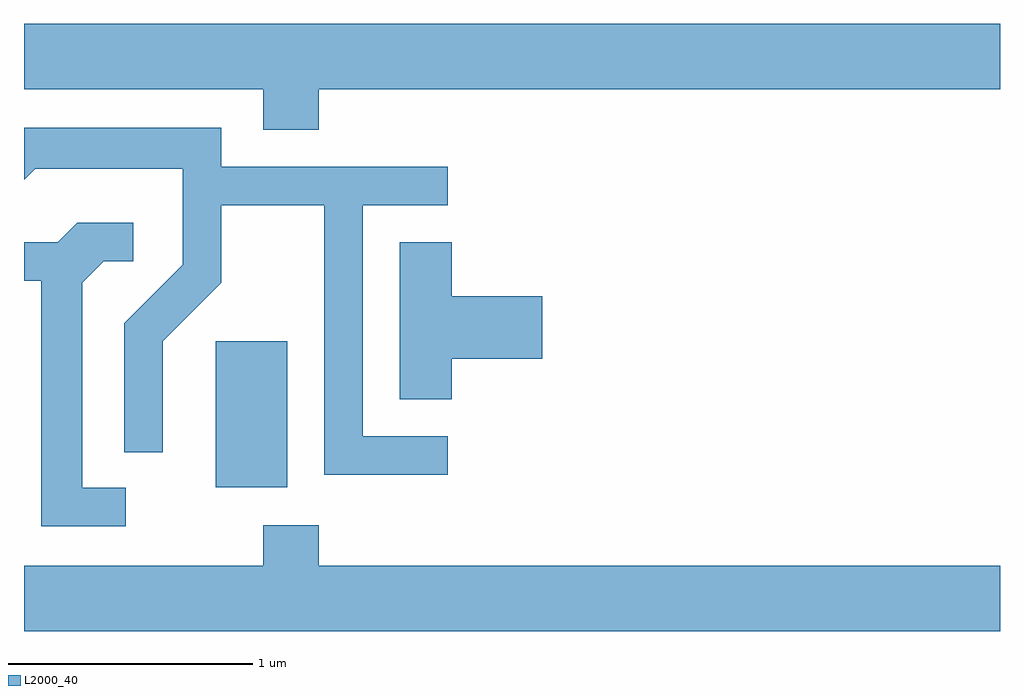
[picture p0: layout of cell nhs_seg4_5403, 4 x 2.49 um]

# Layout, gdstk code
import gdstk
lib = gdstk.Library(unit=1e-6, precision=1e-09)
def R(c, l, rs):  # rectangles x0, y0, x1, y1
    for r in rs: c.add(gdstk.rectangle(r[:2], r[2:], *l))
def P(c, l, *ps):  # polygons
    for p in ps: c.add(gdstk.Polygon(p, *l))
L2000_40 = (2000, 40)

nhs_seg4_5403 = lib.new_cell('nhs_seg4_5403')
R(nhs_seg4_5403, L2000_40, [(344.396,1317.526,344.689,1318.124)])
P(nhs_seg4_5403, L2000_40, [(344.819,1319.156),(347.611,1319.156),(347.611,1319.424),(343.611,1319.424),(343.611,1319.156),(344.591,1319.156),(344.591,1318.991),(344.819,1318.991)],
  [(345.348,1317.734),(344.999,1317.734),(344.999,1318.681),(345.348,1318.681),(345.348,1318.839),(344.419,1318.839),(344.419,1318.999),(343.611,1318.999),(343.611,1318.785),(343.657,1318.831),(344.261,1318.831),(344.261,1318.437),(344.021,1318.197),(344.021,1317.668),(344.179,1317.668),(344.179,1318.124),(344.419,1318.364),(344.419,1318.681),(344.841,1318.681),(344.841,1317.576),(345.348,1317.576)],
  [(344.028,1317.524),(343.849,1317.524),(343.849,1318.364),(343.937,1318.451),(344.058,1318.451),(344.058,1318.609),(343.829,1318.609),(343.749,1318.529),(343.611,1318.529),(343.611,1318.371),(343.681,1318.371),(343.681,1317.366),(344.028,1317.366)],
  [(345.364,1318.051),(345.734,1318.051),(345.734,1318.309),(345.364,1318.309),(345.364,1318.529),(345.151,1318.529),(345.151,1317.886),(345.364,1317.886)],
  [(347.611,1317.204),(344.819,1317.204),(344.819,1317.369),(344.591,1317.369),(344.591,1317.204),(343.611,1317.204),(343.611,1316.936),(347.611,1316.936)])

lib.write_gds('nhs_seg4_5403.gds')
